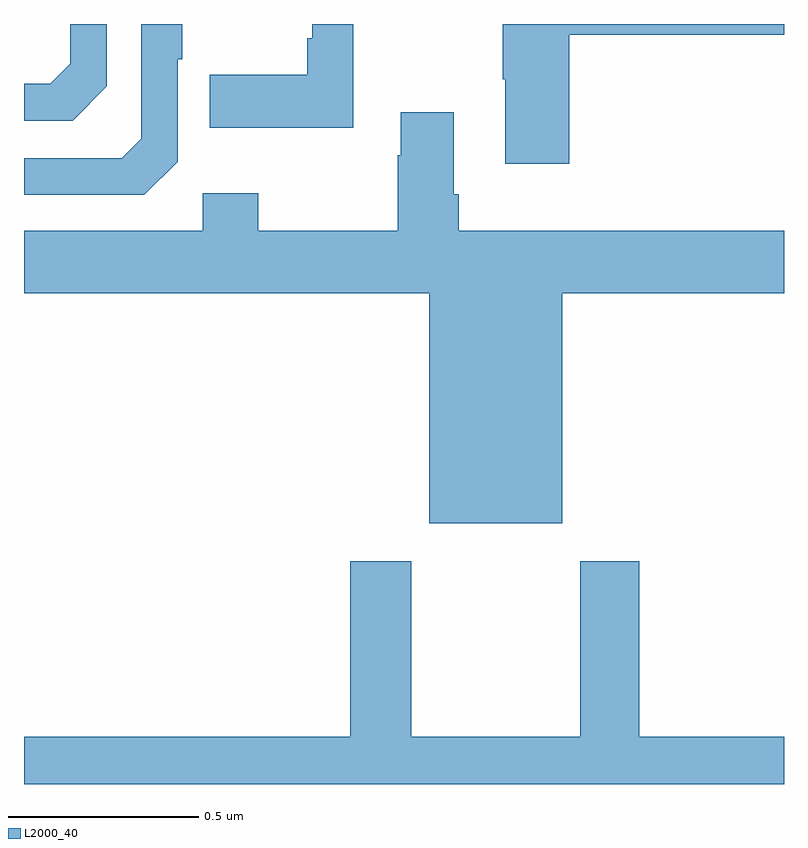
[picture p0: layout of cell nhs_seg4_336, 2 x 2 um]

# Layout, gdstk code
import gdstk
lib = gdstk.Library(unit=1e-6, precision=1e-09)
def P(c, l, *ps):  # polygons
    for p in ps: c.add(gdstk.Polygon(p, *l))
L2000_40 = (2000, 40)

nhs_seg4_336 = lib.new_cell('nhs_seg4_336')
P(nhs_seg4_336, L2000_40, [(115.404,758.538),(115.404,758.807),(115.417,758.807),(115.417,758.9),(115.308,758.9),(115.308,758.598),(115.257,758.547),(115,758.547),(115,758.451),(115.317,758.451)],
  [(115.218,758.736),(115.218,758.9),(115.122,758.9),(115.122,758.796),(115.069,758.743),(115,758.743),(115,758.646),(115.128,758.646)],
  [(115.867,758.9),(115.758,758.9),(115.758,758.863),(115.746,758.863),(115.746,758.767),(115.489,758.767),(115.489,758.627),(115.867,758.627)],
  [(116.435,758.872),(117,758.872),(117,758.9),(116.26,758.9),(116.26,758.755),(116.267,758.755),(116.267,758.532),(116.435,758.532)],
  [(116.416,758.192),(117,758.192),(117,758.356),(116.144,758.356),(116.144,758.452),(116.131,758.452),(116.131,758.668),(115.991,758.668),(115.991,758.555),(115.984,758.555),(115.984,758.356),(115.617,758.356),(115.617,758.455),(115.47,758.455),(115.47,758.356),(115,758.356),(115,758.192),(116.066,758.192),(116.066,757.586),(116.416,757.586)],
  [(117,757.024),(116.619,757.024),(116.619,757.486),(116.464,757.486),(116.464,757.024),(116.019,757.024),(116.019,757.486),(115.859,757.486),(115.859,757.024),(115,757.024),(115,756.9),(117,756.9)])

lib.write_gds('nhs_seg4_336.gds')
